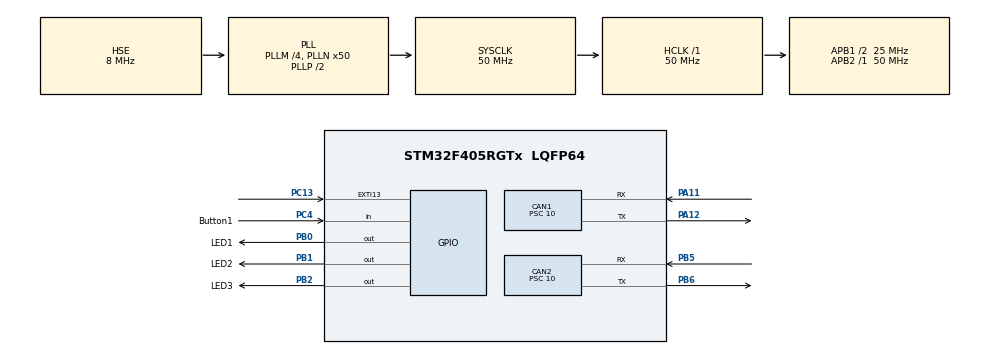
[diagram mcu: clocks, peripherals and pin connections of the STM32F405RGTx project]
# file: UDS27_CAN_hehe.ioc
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CAN1.BS1=CAN_BS1_2TQ
CAN1.BS2=CAN_BS2_2TQ
CAN1.CalculateBaudRate=500000
CAN1.CalculateTimeBit=2000.00
CAN1.CalculateTimeQuantum=400.0
CAN1.Prescaler=10
CAN2.BS1=CAN_BS1_2TQ
CAN2.BS2=CAN_BS2_2TQ
CAN2.CalculateBaudRate=500000
CAN2.CalculateTimeBit=2000.00
CAN2.CalculateTimeQuantum=400.0
CAN2.Prescaler=10
Mcu.Family=STM32F4
Mcu.Name=STM32F405RGTx
Mcu.Package=LQFP64
NVIC.CAN1_RX0_IRQn=true\:0\:0\:false\:false\:true\:true\:true
NVIC.CAN2_RX0_IRQn=true\:0\:0\:false\:false\:true\:true\:true
NVIC.EXTI15_10_IRQn=true\:0\:0\:false\:false\:true\:true\:true
NVIC.PriorityGroup=NVIC_PRIORITYGROUP_4
PA11.Mode=CAN_Activate
PA11.Signal=CAN1_RX
PA12.Mode=CAN_Activate
PA12.Signal=CAN1_TX
PB0.GPIO_Label=LED1
PB0.Signal=GPIO_Output
PB1.GPIO_Label=LED2
PB1.Signal=GPIO_Output
PB2.GPIO_Label=LED3
PB2.Signal=GPIO_Output
PB5.Mode=CAN_Activate
PB5.Signal=CAN2_RX
PB6.Mode=CAN_Activate
PB6.Signal=CAN2_TX
PC13-ANTI_TAMP.Signal=GPXTI13
PC4.GPIO_Label=Button1
PC4.GPIO_PuPd=GPIO_NOPULL
PC4.Signal=GPIO_Input
PH0-OSC_IN.Mode=HSE-External-Oscillator
PH0-OSC_IN.Signal=RCC_OSC_IN
PH1-OSC_OUT.Mode=HSE-External-Oscillator
PH1-OSC_OUT.Signal=RCC_OSC_OUT
ProjectManager.HeapSize=0x200
ProjectManager.StackSize=0x400
ProjectManager.TargetToolchain=STM32CubeIDE
RCC.48MHZClocksFreq_Value=25000000
RCC.AHBFreq_Value=50000000
RCC.APB1CLKDivider=RCC_HCLK_DIV2
RCC.APB1Freq_Value=25000000
RCC.APB1TimFreq_Value=50000000
RCC.APB2Freq_Value=50000000
RCC.APB2TimFreq_Value=50000000
RCC.CortexFreq_Value=50000000
RCC.HCLKFreq_Value=50000000
RCC.HSE_VALUE=8000000
RCC.HSI_VALUE=16000000
RCC.LSE_VALUE=32768
RCC.PLLM=4
RCC.PLLN=50
RCC.PLLSourceVirtual=RCC_PLLSOURCE_HSE
RCC.SYSCLKFreq_VALUE=50000000
RCC.SYSCLKSource=RCC_SYSCLKSOURCE_PLLCLK
RCC.VCOOutputFreq_Value=100000000
board=custom

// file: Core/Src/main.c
/* USER CODE BEGIN Header */
/**
  ******************************************************************************
  * @file           : main.c
  * @brief          : Main program body
  ******************************************************************************
  * @attention
  *
  * <h2><center>&copy; Copyright (c) 2023 STMicroelectronics.
  * All rights reserved.</center></h2>
  *
  * This software component is licensed by ST under BSD 3-Clause license,
  * the "License"; You may not use this file except in compliance with the
  * License. You may obtain a copy of the License at:
  *                        opensource.org/licenses/BSD-3-Clause
  *
  ******************************************************************************
  */
/* USER CODE END Header */
#include "main.h"

/* USER CODE BEGIN Includes */
#include "stm32f4xx_hal_can.h"
#include "stm32f4xx_hal_conf.h"
#include <stdlib.h>

/* USER CODE END Includes */

CAN_HandleTypeDef hcan1;
CAN_HandleTypeDef hcan2;

void SystemClock_Config(void);
static void MX_GPIO_Init(void);
static void MX_CAN1_Init(void);
static void MX_CAN2_Init(void);

/* USER CODE BEGIN 0 */

CAN_TxHeaderTypeDef TxHeader;
CAN_RxHeaderTypeDef RxHeader;

uint32_t TxMailbox;

uint8_t TxData[8];
uint8_t RxData[8];
uint8_t Key[4];

int isBlock = 1;

uint32_t TxMailbox;
int datacheck = 0;

void Setup_TxHeaderECU()
{
	TxHeader.DLC = 8;
	TxHeader.StdId = 0x104;
	//Setting UDS environment
	TxData[0] = 0x06; //length of data
	TxData[1] = 0x67; // service
	TxData[2] = 0x01; //sub-service

}

void Init_Tester()
{

   TxHeader.DLC = 8;
   TxHeader.ExtId = 0x11111111;
   TxHeader.IDE = CAN_ID_EXT;
   TxHeader.RTR = CAN_RTR_DATA;
   TxHeader.StdId = 46;
   TxHeader.TransmitGlobalTime = DISABLE;

   TxData[0] = 0x27;
   TxData[1] = 0x01;
   for(int i =2 ; i<8;i++)
   {
	   TxData[i] = 0x55;
   }
}

void Init_ECU()
{

   TxHeader.DLC = 8;
   TxHeader.ExtId = 0x11111111;
   TxHeader.IDE = CAN_ID_EXT;
   TxHeader.RTR = CAN_RTR_DATA;
   TxHeader.StdId = 0x104;
   TxHeader.TransmitGlobalTime = DISABLE;

   TxData[0] = 0x06;
   TxData[1] = 0x67;
   TxData[2] = 0x01;
//   for(int i =3 ; i<8;i++)
//   {
//	   TxData[i] = 0x55;
//   }
}

//uint8_t * Calculator_Key(uint8_t *key)
//{
//	uint8_t temp_key[4];
//	for(int i= 0 ; i < 4 ;i++)
//	{
//		temp_key[i] = *(key+i);
//	}
//	return temp_key;
//}
void Compare_key()
{
	for(int i = 3 ; i< 7 ;i++)
	{
		if(RxData[i] != Key[i -3])
		{
			isBlock = 2;
		}
	}
	if(isBlock != 2)
	{
		isBlock = 0;
		TxData[0] = 0x02;
		TxData[1] = 0x67;
		TxData[2] = 0x02;
		for(int i= 3 ; i < 8 ;i++)
		{
			TxData[i] = 0x55;

		}
		HAL_GPIO_WritePin(GPIOB, LED1_Pin, GPIO_PIN_SET);
		HAL_CAN_AddTxMessage(&hcan2, &TxHeader, TxData, &TxMailbox);
	}
}

void Calculator_Key()
{
	for(int i= 3 ; i < 7 ;i++)
	{
		TxData[i] = RxData[i] + 1;

	}
}

void Generate_Seed()
{

	for(int i = 3 ;i < 7; i++)
	{
		TxData[i] = rand()% 0xff;
		Key[i] = TxData[i] + 1;
	}
	TxData[7] = 0x55;
}

void HAL_GPIO_EXTI_Callback(uint16_t GPIO_Pin)
{
	if(GPIO_Pin == GPIO_PIN_13){
//		HAL_GPIO_WritePin(GPIOB, LED1_Pin, GPIO_PIN_RESET);
		HAL_GPIO_WritePin(GPIOB, LED1_Pin, GPIO_PIN_SET);

		Init_Tester();
		// Send request seed to ECU
		if(HAL_CAN_AddTxMessage(&hcan1, &TxHeader, TxData, &TxMailbox) != HAL_OK)
		  {

		  	  	HAL_GPIO_WritePin(GPIOB, LED2_Pin, GPIO_PIN_SET);

		  };
	}
}

void Processing_ECU()
{
	Init_ECU();
	//Check request service
	if(RxData[0] == 0x27)
	{
		//check seed request
		if(RxData[1] == 0x01)
		{
			//Creat seed
			Generate_Seed();
			//send Seed to Tester
			HAL_CAN_AddTxMessage(&hcan2, &TxHeader, TxData, &TxMailbox);
		}
		//check key request
		if(RxData[1] == 0x02)
		{
			Compare_key();
		}
	}

}

void Processing_Tester()
{
	Init_Tester();
	//check responsive
	if(RxData[1] == 0x67)
	{
		//response seed
		if(RxData[2] == 0x01)
		{
			//chance service
			TxData[2] = 0x02;
			Calculator_Key();
			//send key request to ECU
			HAL_CAN_AddTxMessage(&hcan1, &TxHeader, TxData, &TxMailbox);
		}
	}
}
void HAL_CAN_RxFifo0MsgPendingCallback(CAN_HandleTypeDef *hcan)
{
	//check recive
	HAL_GPIO_WritePin(GPIOB, LED3_Pin, GPIO_PIN_SET);
	//ECU get Message
	if(HAL_CAN_GetRxMessage(&hcan2, CAN_RX_FIFO0 , &RxHeader, RxData) == HAL_OK)
		{
			HAL_GPIO_WritePin(GPIOB, LED1_Pin, GPIO_PIN_RESET);
			Processing_ECU();
		};
	//Tester get Message
	if(HAL_CAN_GetRxMessage(&hcan1, CAN_RX_FIFO0 , &RxHeader, RxData) == HAL_OK)
		{
			HAL_GPIO_WritePin(GPIOB, LED1_Pin, GPIO_PIN_RESET);
			Processing_Tester();
		};
//	if(hcan->Instance == CAN2)
//	{
//		datacheck = 1;
////		Setup_TxHeaderECU();
////		Generate_Seed();
//		HAL_GPIO_WritePin(GPIOB, LED2_Pin, GPIO_PIN_SET);
//
//		Processing_ECU();
////		HAL_GPIO_WritePin(GPIOB, LED2_Pin, GPIO_PIN_RESET);
//		HAL_Delay(500);
//		HAL_CAN_AddTxMessage(&hcan2, &TxHeader, TxData, &TxMailbox);
//
//	}
//
//	if(hcan->Instance == CAN1)
//	{
//		HAL_GPIO_WritePin(GPIOB, LED2_Pin, GPIO_PIN_RESET);
////		Setup_TxHeader();
//		Processing_Tester();
//
//
//	}
}

/* USER CODE END 0 */

int main(void)
{

  /* MCU Configuration--------------------------------------------------------*/

  /* Reset of all peripherals, Initializes the Flash interface and the Systick. */
  HAL_Init();

  /* Configure the system clock */
  SystemClock_Config();

  /* Initialize all configured peripherals */
  MX_GPIO_Init();
  MX_CAN1_Init();
  MX_CAN2_Init();
  /* USER CODE BEGIN 2 */
  HAL_CAN_Start(&hcan1);
  HAL_CAN_Start(&hcan2);
//  HAL_GPIO_WritePin(GPIOB, LED2_Pin, GPIO_PIN_SET);
//  if (HAL_CAN_ActivateNotification(&hcan1, CAN_IT_RX_FIFO0_MSG_PENDING) != HAL_OK)
//  {
//  /* Notification Error */
////	  HAL_GPIO_TogglePin(GPIOB, LED1_Pin);
//	  HAL_GPIO_WritePin(GPIOB, LED1_Pin, 1);
//  }

  if (HAL_CAN_ActivateNotification(&hcan1, CAN_IT_RX_FIFO0_MSG_PENDING) != HAL_OK)
   {
   /* Notification Error */
 //	  HAL_GPIO_TogglePin(GPIOB, LED1_Pin);
 	  HAL_GPIO_WritePin(GPIOB, LED1_Pin, 1);
 	  HAL_GPIO_WritePin(GPIOB, LED2_Pin, 1);
   }

  HAL_CAN_ActivateNotification(&hcan2, CAN_IT_RX_FIFO0_MSG_PENDING);

//  HAL_GPIO_WritePin(GPIOB, LED1_Pin, GPIO_PIN_SET);

  /* USER CODE END 2 */

  /* Infinite loop */
  /* USER CODE BEGIN WHILE */
  while (1)
  {
	  if (datacheck == 1)
	  {
		  for(int i =0 ; i < RxData[1] ;i++)
		  {
			  HAL_GPIO_TogglePin(GPIOB, LED1_Pin);
			  HAL_Delay(RxData[0]);
		  }
	  }

	  HAL_Delay(250);
//	  if(HAL_CAN_AddTxMessage(&hcan2, &TxHeader, TxData, &TxMailbox) != HAL_OK)
//	 		  {
//
//	 		  	  	HAL_GPIO_WritePin(GPIOB, LED1_Pin, GPIO_PIN_SET);
//	 		  };
	  HAL_Delay(250);
    /* USER CODE END WHILE */

  }
}

void SystemClock_Config(void)
{
  RCC_OscInitTypeDef RCC_OscInitStruct = {0};
  RCC_ClkInitTypeDef RCC_ClkInitStruct = {0};

  /** Configure the main internal regulator output voltage
  */
  __HAL_RCC_PWR_CLK_ENABLE();
  __HAL_PWR_VOLTAGESCALING_CONFIG(PWR_REGULATOR_VOLTAGE_SCALE1);
  /** Initializes the RCC Oscillators according to the specified parameters
  * in the RCC_OscInitTypeDef structure.
  */
  RCC_OscInitStruct.OscillatorType = RCC_OSCILLATORTYPE_HSE;
  RCC_OscInitStruct.HSEState = RCC_HSE_ON;
  RCC_OscInitStruct.PLL.PLLState = RCC_PLL_ON;
  RCC_OscInitStruct.PLL.PLLSource = RCC_PLLSOURCE_HSE;
  RCC_OscInitStruct.PLL.PLLM = 4;
  RCC_OscInitStruct.PLL.PLLN = 50;
  RCC_OscInitStruct.PLL.PLLP = RCC_PLLP_DIV2;
  RCC_OscInitStruct.PLL.PLLQ = 4;
  if (HAL_RCC_OscConfig(&RCC_OscInitStruct) != HAL_OK)
  {
    Error_Handler();
  }
  /** Initializes the CPU, AHB and APB buses clocks
  */
  RCC_ClkInitStruct.ClockType = RCC_CLOCKTYPE_HCLK|RCC_CLOCKTYPE_SYSCLK
                              |RCC_CLOCKTYPE_PCLK1|RCC_CLOCKTYPE_PCLK2;
  RCC_ClkInitStruct.SYSCLKSource = RCC_SYSCLKSOURCE_PLLCLK;
  RCC_ClkInitStruct.AHBCLKDivider = RCC_SYSCLK_DIV1;
  RCC_ClkInitStruct.APB1CLKDivider = RCC_HCLK_DIV2;
  RCC_ClkInitStruct.APB2CLKDivider = RCC_HCLK_DIV1;

  if (HAL_RCC_ClockConfig(&RCC_ClkInitStruct, FLASH_LATENCY_1) != HAL_OK)
  {
    Error_Handler();
  }
}

static void MX_CAN1_Init(void)
{

  hcan1.Instance = CAN1;
  hcan1.Init.Prescaler = 10;
  hcan1.Init.Mode = CAN_MODE_NORMAL;
  hcan1.Init.SyncJumpWidth = CAN_SJW_1TQ;
  hcan1.Init.TimeSeg1 = CAN_BS1_2TQ;
  hcan1.Init.TimeSeg2 = CAN_BS2_2TQ;
  hcan1.Init.TimeTriggeredMode = DISABLE;
  hcan1.Init.AutoBusOff = DISABLE;
  hcan1.Init.AutoWakeUp = DISABLE;
  hcan1.Init.AutoRetransmission = DISABLE;
  hcan1.Init.ReceiveFifoLocked = DISABLE;
  hcan1.Init.TransmitFifoPriority = DISABLE;
  if (HAL_CAN_Init(&hcan1) != HAL_OK)
  {
    Error_Handler();
  }
  /* USER CODE BEGIN CAN1_Init 2 */

    CAN_FilterTypeDef canfilterconfig;
    canfilterconfig.FilterActivation = CAN_FILTER_ENABLE;
    canfilterconfig.FilterBank = 2;
    canfilterconfig.FilterFIFOAssignment = CAN_RX_FIFO0;
    canfilterconfig.FilterIdHigh = 0;
    canfilterconfig.FilterIdLow = 0x0000;
    canfilterconfig.FilterMaskIdHigh = 0;
    canfilterconfig.FilterMaskIdLow = 0x0000;
    canfilterconfig.FilterMode = CAN_FILTERMODE_IDMASK;
    canfilterconfig.FilterScale = CAN_FILTERSCALE_32BIT;
    canfilterconfig.SlaveStartFilterBank = 14;

    HAL_CAN_ConfigFilter(&hcan1, &canfilterconfig);

  /* USER CODE END CAN1_Init 2 */

}

static void MX_CAN2_Init(void)
{

  hcan2.Instance = CAN2;
  hcan2.Init.Prescaler = 10;
  hcan2.Init.Mode = CAN_MODE_NORMAL;
  hcan2.Init.SyncJumpWidth = CAN_SJW_1TQ;
  hcan2.Init.TimeSeg1 = CAN_BS1_2TQ;
  hcan2.Init.TimeSeg2 = CAN_BS2_2TQ;
  hcan2.Init.TimeTriggeredMode = DISABLE;
  hcan2.Init.AutoBusOff = DISABLE;
  hcan2.Init.AutoWakeUp = DISABLE;
  hcan2.Init.AutoRetransmission = DISABLE;
  hcan2.Init.ReceiveFifoLocked = DISABLE;
  hcan2.Init.TransmitFifoPriority = DISABLE;
  if (HAL_CAN_Init(&hcan2) != HAL_OK)
  {
    Error_Handler();
  }
  /* USER CODE BEGIN CAN2_Init 2 */
  CAN_FilterTypeDef canfilterconfig1;
  canfilterconfig1.FilterActivation = CAN_FILTER_ENABLE;
  canfilterconfig1.FilterBank = 14;
  canfilterconfig1.FilterFIFOAssignment = CAN_RX_FIFO0;
  canfilterconfig1.FilterIdHigh = 0;
  canfilterconfig1.FilterIdLow = 0x0000;
  canfilterconfig1.FilterMaskIdHigh = 0;
  canfilterconfig1.FilterMaskIdLow = 0x0000;
  canfilterconfig1.FilterMode = CAN_FILTERMODE_IDMASK;
  canfilterconfig1.FilterScale = CAN_FILTERSCALE_32BIT;
  canfilterconfig1.SlaveStartFilterBank = 14;

  HAL_CAN_ConfigFilter(&hcan2, &canfilterconfig1);
  /* USER CODE END CAN2_Init 2 */

}

static void MX_GPIO_Init(void)
{
  GPIO_InitTypeDef GPIO_InitStruct = {0};

  /* GPIO Ports Clock Enable */
  __HAL_RCC_GPIOC_CLK_ENABLE();
  __HAL_RCC_GPIOH_CLK_ENABLE();
  __HAL_RCC_GPIOB_CLK_ENABLE();
  __HAL_RCC_GPIOA_CLK_ENABLE();

  /*Configure GPIO pin Output Level */
  HAL_GPIO_WritePin(GPIOB, LED1_Pin|LED2_Pin|LED3_Pin, GPIO_PIN_RESET);

  /*Configure GPIO pin : PC13 */
  GPIO_InitStruct.Pin = GPIO_PIN_13;
  GPIO_InitStruct.Mode = GPIO_MODE_IT_RISING;
  GPIO_InitStruct.Pull = GPIO_NOPULL;
  HAL_GPIO_Init(GPIOC, &GPIO_InitStruct);

  /*Configure GPIO pin : Button1_Pin */
  GPIO_InitStruct.Pin = Button1_Pin;
  GPIO_InitStruct.Mode = GPIO_MODE_INPUT;
  GPIO_InitStruct.Pull = GPIO_NOPULL;
  HAL_GPIO_Init(Button1_GPIO_Port, &GPIO_InitStruct);

  /*Configure GPIO pins : LED1_Pin LED2_Pin LED3_Pin */
  GPIO_InitStruct.Pin = LED1_Pin|LED2_Pin|LED3_Pin;
  GPIO_InitStruct.Mode = GPIO_MODE_OUTPUT_PP;
  GPIO_InitStruct.Pull = GPIO_NOPULL;
  GPIO_InitStruct.Speed = GPIO_SPEED_FREQ_LOW;
  HAL_GPIO_Init(GPIOB, &GPIO_InitStruct);

  /* EXTI interrupt init*/
  HAL_NVIC_SetPriority(EXTI15_10_IRQn, 0, 0);
  HAL_NVIC_EnableIRQ(EXTI15_10_IRQn);

}

void Error_Handler(void)
{
  __disable_irq();
  while (1)
  {
  }
}

/************************ (C) COPYRIGHT STMicroelectronics *****END OF FILE****/
